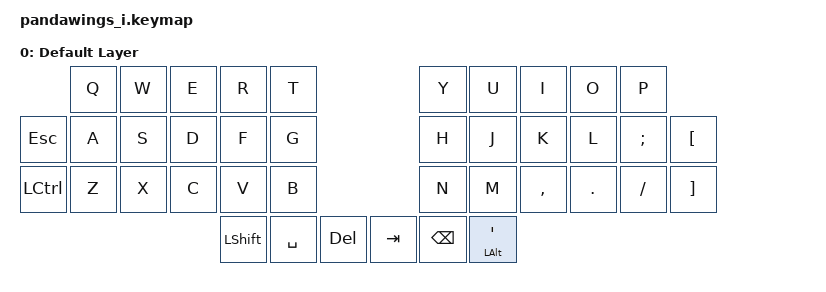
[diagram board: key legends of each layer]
// This file was generated from a template. Edit it to match your keyboard.
// See https://zmk.dev/docs/development/hardware-integration/new-shield for more instructions.

#include <behaviors.dtsi>
#include <dt-bindings/zmk/keys.h>

/ {
    combos {
        compatible = "zmk,combos";

//        select_all {
//            bindings = <&kp LC(A)>;
//            key-positions = <23 24>;
//            layers = <0>;
//        };
//
//        copy {
//            bindings = <&kp LC(C)>;
//            key-positions = <24 25>;
//            layers = <0>;
//        };
//
//        paste {
//            bindings = <&kp LC(V)>;
//            key-positions = <25 26>;
//            layers = <0>;
//        };
//
//        cut {
//            bindings = <&kp LC(X)>;
//            key-positions = <26 27>;
//            layers = <0>;
//        };
//
//        line_start {
//            bindings = <&kp HOME>;
//            key-positions = <12 13 14>;
//            layers = <0>;
//        };
//
//        line_end {
//            bindings = <&kp END>;
//            key-positions = <17 18 19>;
//            layers = <0>;
//        };

        return {
            bindings = <&kp RETURN>;
            key-positions = <36 37>;
            layers = <0>;
        };

//        controller_reset {
//            bindings = <&bootloader>;
//            key-positions = <0 2 3>;
//            layers = <0>;
//        };
    };

    // Define a default keymap here.
    // See https://zmk.dev/docs/development/hardware-integration/new-shield#default-keymap.
    keymap {
        compatible = "zmk,keymap";

//                    | SW2  | SW3  | SW4  | SW5  | SW6  |  | SW27 | SW26 | SW25 | SW24 | SW23 | 
//             | SW7  | SW8  | SW9  | SW10 | SW11 | SW12 |  | SW33 | SW32 | SW31 | SW30 | SW29 | SW34 |
//             | SW13 | SW14 | SW15 | SW16 | SW17 | SW18 |  | SW39 | SW38 | SW37 | SW36 | SW35 | SW28 |
//                                  | SW19 | SW20 | SW21 |  | SW42 | SW41 | SW40 |

        default_layer {
            display-name = "Default Layer";
            bindings = <
//           ┌───┬───┬───┬──────┬─────┐               ┌──────┬───────────┬───┬───┬───┐
//           │ Q │ W │ E │  R   │  T  │               │  Y   │     U     │ I │ O │ P │
//    ┌──────┼───┼───┼───┼──────┼─────┤               ├──────┼───────────┼───┼───┼───┼───┐
//    │ esc  │ A │ S │ D │  F   │  G  │               │  H   │     J     │ K │ L │ ; │ [ │
//    ├──────┼───┼───┼───┼──────┼─────┤               ├──────┼───────────┼───┼───┼───┼───┤
//    │ lctl │ Z │ X │ C │  V   │  B  │               │  N   │     M     │ , │ . │ / │ ] │
//    └──────┴───┴───┴───┼──────┼─────┼─────┐   ┌─────┼──────┼───────────┼───┴───┴───┴───┘
//                       │ lsft │ spc │ del │   │ tab │ bspc │ mt lalt ' │
//                       └──────┴─────┴─────┘   └─────┴──────┴───────────┘
               &kp Q   &kp W   &kp E   &kp R       &kp T                                  &kp Y           &kp U           &kp I       &kp O     &kp P
  &kp ESCAPE   &kp A   &kp S   &kp D   &kp F       &kp G                                  &kp H           &kp J           &kp K       &kp L     &kp SEMI   &kp LBKT
  &kp LCTRL    &kp Z   &kp X   &kp C   &kp V       &kp B                                  &kp N           &kp M           &kp COMMA   &kp DOT   &kp FSLH   &kp RBKT
                                       &kp LSHFT   &kp SPACE   &kp DELETE       &kp TAB   &kp BACKSPACE   &mt LALT APOS
            >;
        };
    };
};
